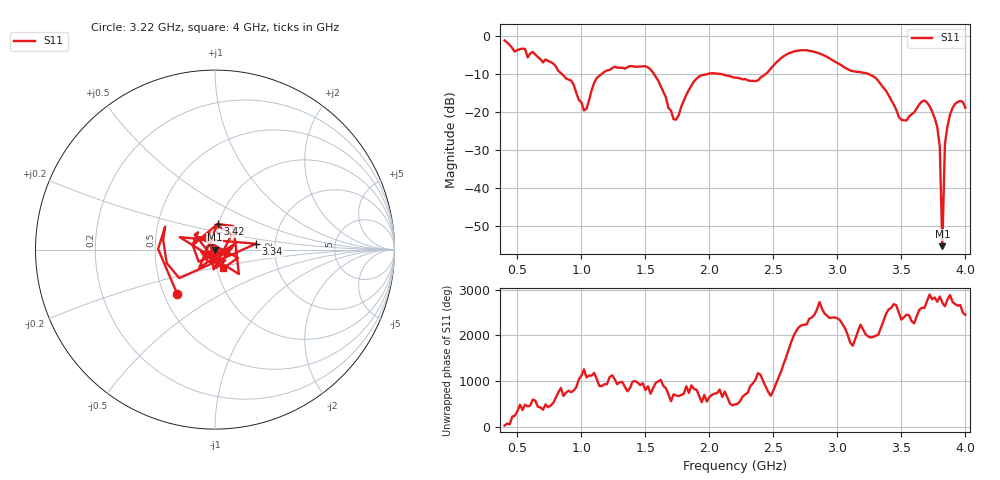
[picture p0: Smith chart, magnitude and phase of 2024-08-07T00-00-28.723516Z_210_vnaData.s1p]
!Created with skrf (http://scikit-rf.org).
# Hz S RI R 50.0
!freq ReS11 ImS11
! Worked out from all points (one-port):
!   181 points, 400 MHz to 4 GHz, reference 50 ohm
!   lowest |S11| = -55.3 dB at 3.82 GHz (marker M1), VSWR 1.00, Z = 49.8 - j0.0596 ohm
!   |S11| at or under -10 dB: 1.567 GHz to 1.989 GHz (422.1 MHz wide, 23.7 % of centre); 2.086 GHz to 2.441 GHz (354.7 MHz wide, 15.7 % of centre); 3.241 GHz to end of sweep (the widest 3 of 4)
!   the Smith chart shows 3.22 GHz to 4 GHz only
!   S11 on the Smith chart (normalised r, x): 3.22 GHz: 0.59, -0.32; 3.34 GHz: 1.59, +0.11; 3.42 GHz: 0.99, +0.29; 4 GHz: 1.07, -0.23
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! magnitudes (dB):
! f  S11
! 400 MHz  -1.2
! 860 MHz  -10.4
! 940 MHz  -12.9
! 1.02 GHz  -19.6
! 1.12 GHz  -11.1
! 1.3 GHz  -8.4
! 1.54 GHz  -8.8
! 1.72 GHz  -21.9
! 1.76 GHz  -20.9
! 1.92 GHz  -10.6
! 2.2 GHz  -11.0
! 2.38 GHz  -11.7
! 2.66 GHz  -4.1
! 2.86 GHz  -4.6
! 3.1 GHz  -9.1
! 3.22 GHz  -9.8
! 3.34 GHz  -12.8
! 3.42 GHz  -16.9
! 3.5 GHz  -22.1
! 3.56 GHz  -21.2
! 3.68 GHz  -17.0
! 3.78 GHz  -23.9
! 3.8 GHz  -29.1
! 3.82 GHz  -55.3
! 3.84 GHz  -28.5
! 3.86 GHz  -23.8
! 3.92 GHz  -17.9
! 4 GHz  -18.9
